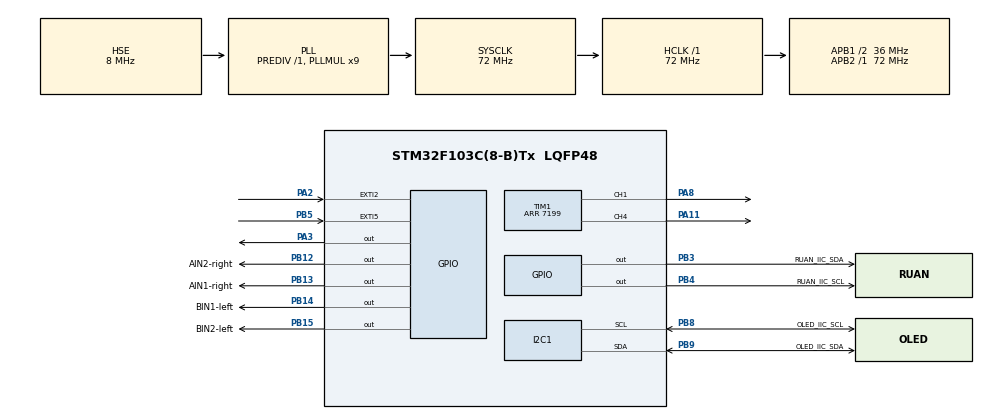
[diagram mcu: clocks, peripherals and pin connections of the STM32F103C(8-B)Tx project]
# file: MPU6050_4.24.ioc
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Mcu.Family=STM32F1
Mcu.Name=STM32F103C(8-B)Tx
Mcu.Package=LQFP48
NVIC.EXTI2_IRQn=true\:0\:0\:false\:false\:true\:true\:true\:true
NVIC.EXTI9_5_IRQn=true\:1\:0\:true\:false\:true\:true\:true\:true
NVIC.PriorityGroup=NVIC_PRIORITYGROUP_4
NVIC.TIM3_IRQn=true\:0\:0\:false\:false\:true\:true\:true\:true
NVIC.TIM4_IRQn=true\:0\:0\:false\:false\:true\:true\:true\:true
PA11.Signal=S_TIM1_CH4
PA13.Mode=Serial_Wire
PA13.Signal=SYS_JTMS-SWDIO
PA14.Mode=Serial_Wire
PA14.Signal=SYS_JTCK-SWCLK
PA2.GPIO_ModeDefaultEXTI=GPIO_MODE_IT_RISING_FALLING
PA2.Signal=GPXTI2
PA3.GPIO_Speed=GPIO_SPEED_FREQ_HIGH
PA3.PinState=GPIO_PIN_RESET
PA3.Signal=GPIO_Output
PA8.Signal=S_TIM1_CH1
PB12.GPIO_Label=AIN2-right
PB12.Signal=GPIO_Output
PB13.GPIO_Label=AIN1-right
PB13.Signal=GPIO_Output
PB14.GPIO_Label=BIN1-left
PB14.Signal=GPIO_Output
PB15.GPIO_Label=BIN2-left
PB15.Signal=GPIO_Output
PB3.GPIO_Label=RUAN_IIC_SDA
PB3.GPIO_ModeDefaultOutputPP=GPIO_MODE_OUTPUT_PP
PB3.GPIO_PuPd=GPIO_NOPULL
PB3.GPIO_Speed=GPIO_SPEED_FREQ_LOW
PB3.PinState=GPIO_PIN_RESET
PB3.Signal=GPIO_Output
PB4.GPIO_Label=RUAN_IIC_SCL
PB4.GPIO_ModeDefaultOutputPP=GPIO_MODE_OUTPUT_PP
PB4.GPIO_PuPd=GPIO_NOPULL
PB4.GPIO_Speed=GPIO_SPEED_FREQ_LOW
PB4.PinState=GPIO_PIN_RESET
PB4.Signal=GPIO_Output
PB5.GPIO_ModeDefaultEXTI=GPIO_MODE_IT_FALLING
PB5.Signal=GPXTI5
PB8.GPIO_Label=OLED_IIC_SCL
PB8.Mode=I2C
PB8.Signal=I2C1_SCL
PB9.GPIO_Label=OLED_IIC_SDA
PB9.Mode=I2C
PB9.Signal=I2C1_SDA
PC14-OSC32_IN.Mode=LSE-External-Oscillator
PC14-OSC32_IN.Signal=RCC_OSC32_IN
PC15-OSC32_OUT.Mode=LSE-External-Oscillator
PC15-OSC32_OUT.Signal=RCC_OSC32_OUT
PD0-OSC_IN.Mode=HSE-External-Oscillator
PD0-OSC_IN.Signal=RCC_OSC_IN
PD1-OSC_OUT.Mode=HSE-External-Oscillator
PD1-OSC_OUT.Signal=RCC_OSC_OUT
ProjectManager.HeapSize=0x200
ProjectManager.StackSize=0x400
ProjectManager.TargetToolchain=MDK-ARM V5.32
RCC.AHBFreq_Value=72000000
RCC.APB1CLKDivider=RCC_HCLK_DIV2
RCC.APB1Freq_Value=36000000
RCC.APB1TimFreq_Value=72000000
RCC.APB2Freq_Value=72000000
RCC.APB2TimFreq_Value=72000000
RCC.HCLKFreq_Value=72000000
RCC.PLLMUL=RCC_PLL_MUL9
RCC.PLLSourceVirtual=RCC_PLLSOURCE_HSE
RCC.SYSCLKFreq_VALUE=72000000
RCC.SYSCLKSource=RCC_SYSCLKSOURCE_PLLCLK
RCC.USBFreq_Value=72000000
SH.S_TIM1_CH1.0=TIM1_CH1,PWM Generation1 CH1
SH.S_TIM1_CH4.0=TIM1_CH4,PWM Generation4 CH4
TIM1.Channel-PWM\ Generation1\ CH1=TIM_CHANNEL_1
TIM1.Channel-PWM\ Generation4\ CH4=TIM_CHANNEL_4
TIM1.Period=7199
TIM1.Pulse-PWM\ Generation1\ CH1=7200
TIM1.Pulse-PWM\ Generation4\ CH4=7200
TIM3.Period=65535
TIM3.Prescaler=71
TIM4.AutoReloadPreload=TIM_AUTORELOAD_PRELOAD_ENABLE
TIM4.Period=99
TIM4.Prescaler=7199
VP_TIM1_VS_ClockSourceINT.Mode=Internal
VP_TIM3_VS_ClockSourceINT.Mode=Internal
VP_TIM4_VS_ClockSourceINT.Mode=Internal
board=custom

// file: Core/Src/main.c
/* USER CODE BEGIN Header */
/**
  ******************************************************************************
  * @file           : main.c
  * @brief          : Main program body
  ******************************************************************************
  * @attention
  *
  * Copyright (c) 2026 STMicroelectronics.
  * All rights reserved.
  *
  * This software is licensed under terms that can be found in the LICENSE file
  * in the root directory of this software component.
  * If no LICENSE file comes with this software, it is provided AS-IS.
  *
  ******************************************************************************
  */
/* USER CODE END Header */
#include "main.h"
#include "i2c.h"
#include "tim.h"
#include "gpio.h"

/* USER CODE BEGIN Includes */
#include "i2c.h"
#include "IIC.h"
#include "mpu6050.h"
#include "inv_mpu.h"
#include "inv_mpu_dmp_motion_driver.h"
#include "oled.h"
#include <stdio.h> // 支持 sprintf 函数
#include "sr04.h"
#include "MOTOR.h"
/* USER CODE END Includes */

/* USER CODE BEGIN PV */

float Pitch, Roll, Yaw; // 定义用来接数据的变量
volatile uint8_t dmp_ready_flag = 0; // 定义全局标志位
volatile uint8_t flag_10ms = 0; // 全局标志位
uint8_t display_buf[32]; //定义用于屏幕显示的字符串缓存数组
extern float distance; // 定义超声波检查距离的变量
int Motor_PWM = 0; // 全局变量，用于记录当前计算出的 PWM 输出，方便 OLED 显示

/* USER CODE END PV */

void SystemClock_Config(void);
/* USER CODE BEGIN PFP */

void Set_Motor_PWM(int moto1, int moto2); // 提前声明电机控制函数
int my_abs(int value);                    // 提前声明绝对值函数
int Vertical_PID_Control(float Current_Angle); // 提前声明 PID 函数

/* USER CODE END PFP */

int main(void)
{

  /* MCU Configuration--------------------------------------------------------*/

  /* Reset of all peripherals, Initializes the Flash interface and the Systick. */
  HAL_Init();

  /* Configure the system clock */
  SystemClock_Config();

  /* Initialize all configured peripherals */
  MX_GPIO_Init();
  MX_TIM1_Init();
  MX_I2C1_Init();
  MX_TIM3_Init();
  MX_TIM4_Init();
  /* USER CODE BEGIN 2 */

    // 1. 释放 PB3 和 PB4,让它们可以作为普通 IO 模拟 IIC
    __HAL_RCC_AFIO_CLK_ENABLE();
    __HAL_AFIO_REMAP_SWJ_NOJTAG();

    OLED_Init();
    OLED_Clear();
    Set_Motor_Speed(0, 0);

    // 2. 测试第一步：基础 I2C 通信
    uint8_t res = MPU_Init();
    if(res == 0) {
        OLED_ShowString(0, 0, "MPU Init OK!  ", 16);
    } else {
        // 如果基础通信失败，打印出错误码
        sprintf((char *)display_buf, "MPU Fail: %d  ", res);
        OLED_ShowString(0, 0, display_buf, 16);
        while(1) HAL_Delay(100); // 卡死在这里，不往下跑了
    }

    HAL_Delay(500); // 稍微等一下让人看清屏幕

    // 3. 测试第二步：加载 DMP 固件
    while(mpu_dmp_init() != 0) {
        OLED_ShowString(0, 2, "DMP Error!    ", 16);
        HAL_Delay(500);
    }
    OLED_ShowString(0, 2, "DMP Success!  ", 16);
    HAL_Delay(500);
    OLED_Clear(); // 成功后清屏，准备显示角度

    //4. 启动电机控制的 PWM 通道
    HAL_TIM_PWM_Start(&htim1, TIM_CHANNEL_1);
    HAL_TIM_PWM_Start(&htim1, TIM_CHANNEL_4);
    Set_Motor_Speed(2000, 2000); // 这里调用你之前定义的电机控制函数，确保它能正常工作

  // 启动 TIM4 定时器中断，作为 10ms 的 PID 核心控制周期！
    HAL_TIM_Base_Start_IT(&htim4);

  /* USER CODE END 2 */

  /* Infinite loop */
  while (1)
  {

    /* USER CODE BEGIN 3 */
      static uint16_t oled_cnt = 0; // 定义一个静态变量用来降频显示屏幕

      // --- 核心控制任务：严格保证每 10ms 执行一次 ---
      if (flag_10ms == 1)
      {
          flag_10ms = 0; // 进来了就马上清除标志位

          // 1. 读取最新姿态数据 (耗时操作，放这里完美)
          mpu_dmp_get_data(&Pitch, &Roll, &Yaw);

          // 2. 计算直立环 PID 输出
          Motor_PWM = Vertical_PID_Control(Roll);

          // 3. 摔倒保护 (倾角超过 40 度，认为已经摔倒，关闭电机输出)
          if (Roll > 40.0 || Roll < -40.0)
          {
              Motor_PWM = 0;
          }

          // 4. 将计算结果立刻作用于左右电机
          Set_Motor_Speed(Motor_PWM, Motor_PWM);

          // --- 慢速任务：降频执行，防止拖慢主循环 ---
          oled_cnt++;
          if(oled_cnt >= 10) // 10ms * 10 = 100ms (一秒刷新10次屏幕，人眼看着非常顺畅且不占资源)
          {
              oled_cnt = 0; // 计数器清零

              // 刷新 OLED 角度和 PWM
              sprintf((char *)display_buf, "Roll:%.2f PWM:%d  ", Roll, Motor_PWM);
              OLED_ShowString(0, 2, display_buf, 16);

              // 触发超声波并刷新距离
              GET_Distance();
              sprintf((char *)display_buf, "Distance:%.2f     ", distance);
              OLED_ShowString(0, 4, display_buf, 16);
          }
      }

      // 注意：这里绝对不能再加 HAL_Delay(50) 了！
      // 因为上面我们已经通过 flag_10ms 和 oled_cnt 实现了精准的时间调度。
      // 加 Delay 会严重破坏 10ms 的控制周期。
  }
  /* USER CODE END 3 */
}

void SystemClock_Config(void)
{
  RCC_OscInitTypeDef RCC_OscInitStruct = {0};
  RCC_ClkInitTypeDef RCC_ClkInitStruct = {0};

  /** Initializes the RCC Oscillators according to the specified parameters
  * in the RCC_OscInitTypeDef structure.
  */
  RCC_OscInitStruct.OscillatorType = RCC_OSCILLATORTYPE_HSE;
  RCC_OscInitStruct.HSEState = RCC_HSE_ON;
  RCC_OscInitStruct.HSEPredivValue = RCC_HSE_PREDIV_DIV1;
  RCC_OscInitStruct.HSIState = RCC_HSI_ON;
  RCC_OscInitStruct.PLL.PLLState = RCC_PLL_ON;
  RCC_OscInitStruct.PLL.PLLSource = RCC_PLLSOURCE_HSE;
  RCC_OscInitStruct.PLL.PLLMUL = RCC_PLL_MUL9;
  if (HAL_RCC_OscConfig(&RCC_OscInitStruct) != HAL_OK)
  {
    Error_Handler();
  }

  /** Initializes the CPU, AHB and APB buses clocks
  */
  RCC_ClkInitStruct.ClockType = RCC_CLOCKTYPE_HCLK|RCC_CLOCKTYPE_SYSCLK
                              |RCC_CLOCKTYPE_PCLK1|RCC_CLOCKTYPE_PCLK2;
  RCC_ClkInitStruct.SYSCLKSource = RCC_SYSCLKSOURCE_PLLCLK;
  RCC_ClkInitStruct.AHBCLKDivider = RCC_SYSCLK_DIV1;
  RCC_ClkInitStruct.APB1CLKDivider = RCC_HCLK_DIV2;
  RCC_ClkInitStruct.APB2CLKDivider = RCC_HCLK_DIV1;

  if (HAL_RCC_ClockConfig(&RCC_ClkInitStruct, FLASH_LATENCY_2) != HAL_OK)
  {
    Error_Handler();
  }
}

/* USER CODE BEGIN 4 */

// --- 平衡车直立环 PID 参数 ---
float Kp = 50.0;  // 比例系数：给 0 时小车无力软绵绵；从小到大加，直到小车出现明显的高频震荡
float Kd = 0;    // 微分系数：在有震荡的基础上加 D，直到震荡消失，手感变得非常“黏”
float Target_Angle = -4; // 机械中值：你需要手动把小车扶到刚好平衡的角度，记录下此时的 Roll 值填在这里

float Last_Roll = 0.0;

#define PWM_MAX 3500  // 暂时限制在 50% 的最高速度，防止占空比越界 (你的 ARR 是 7199)
#define PWM_MIN -3500

// 直立环 PD 控制器
int Vertical_PID_Control(float Current_Angle)
{
    float Angle_Error;
    float Gyro_Rate;
    int PWM_Output;

    // 1. 计算角度偏差
    Angle_Error = Current_Angle - Target_Angle;

    // 2. 近似计算角速度 (注意：真正的做法是用 MPU6050 直接读出的 Y 轴陀螺仪原始数据，这里先用差值近似)
    Gyro_Rate = Current_Angle - Last_Roll;
    Last_Roll = Current_Angle;

    // 3. PD 核心公式
    PWM_Output = (Kp * Angle_Error) + (Kd * Gyro_Rate);

    // 假设死区补偿是 1000（具体数值根据你的电机实际测试修改，一般在 500~2000 之间）
    if(PWM_Output > 0) PWM_Output += 500;
    else if(PWM_Output < 0) PWM_Output -= 500;

    // 4. 输出限幅 (极为关键，防止单次突变算出一个几万的数值炸掉定时器)
    if (PWM_Output > PWM_MAX) PWM_Output = PWM_MAX;
    if (PWM_Output < PWM_MIN) PWM_Output = PWM_MIN;

    return PWM_Output;
}

// 绝对值函数
int my_abs(int value) {
    return value >= 0 ? value : -value;
}
void HAL_TIM_PeriodElapsedCallback(TIM_HandleTypeDef *htim)
{
    // 如果是 TIM4 进来的中断 (10ms 到了)
    if (htim->Instance == TIM4)
    {
        flag_10ms = 1; // 纯置位，不要在这里面跑 MPU6050 读取代码
    }
}
/* USER CODE END 4 */

void Error_Handler(void)
{
  __disable_irq();
  while (1)
  {
  }
}
